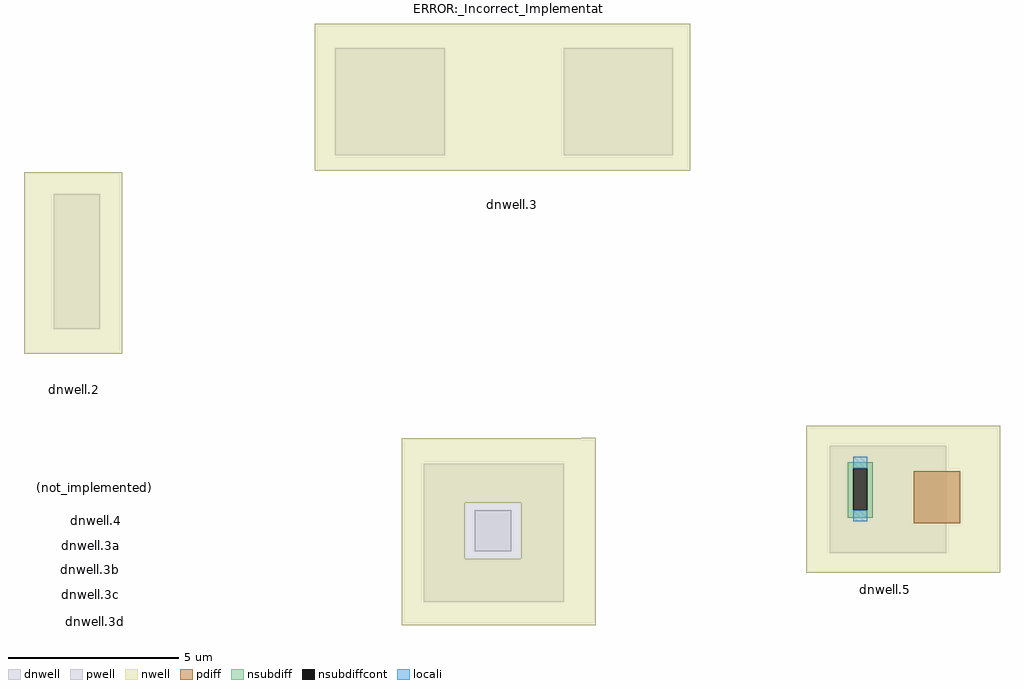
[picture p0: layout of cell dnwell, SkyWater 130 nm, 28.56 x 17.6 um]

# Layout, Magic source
magic
tech sky130A
<< dnwell >>
rect 730 514 1050 827
rect 1398 514 1718 827
rect -94 6 41 400
rect 989 -793 1399 -388
rect 2177 -649 2517 -336
<< nwell >>
rect 670 469 1769 899
rect -181 -66 106 464
rect 1450 -314 1492 -313
rect 925 -502 1492 -314
rect 925 -667 1109 -502
rect 1274 -667 1492 -502
rect 925 -861 1492 -667
rect 2108 -707 2675 -277
<< pwell >>
rect 1138 -644 1245 -525
<< pdiff >>
rect 2422 -562 2559 -410
<< nsubdiff >>
rect 2230 -402 2303 -384
rect 2230 -525 2245 -402
rect 2286 -525 2303 -402
rect 2230 -546 2303 -525
<< nsubdiffcont >>
rect 2245 -525 2286 -402
<< locali >>
rect 2245 -402 2286 -368
rect 2245 -557 2286 -525
<< labels >>
flabel comment s 32 -554 32 -554 0 FreeSans 280 0 0 0 dnwell.4
flabel comment s 25 -459 25 -459 0 FreeSans 280 0 0 0 (not_implemented)
flabel comment s 146 1124 146 1124 0 FreeSans 400 0 0 0 Deep_Nwell
flabel comment s 1238 944 1238 944 0 FreeSans 280 0 0 0 ERROR:_Incorrect_Implementation
flabel comment s 2340 -755 2340 -755 0 FreeSans 280 0 0 0 dnwell.5
flabel comment s 30 -1145 30 -1145 0 FreeSans 280 0 0 0 NOTE:_Why_do_errors_keep_disappearing??
flabel comment s 15 -628 15 -628 0 FreeSans 280 0 0 0 dnwell.3a
flabel comment s 15 -699 15 -699 0 FreeSans 280 0 0 0 dnwell.3b
flabel comment s 13 -771 13 -771 0 FreeSans 280 0 0 0 dnwell.3c
flabel comment s 28 -850 28 -850 0 FreeSans 280 0 0 0 dnwell.3d
flabel comment s -32 -172 -32 -172 0 FreeSans 280 0 0 0 dnwell.2
flabel comment s 1247 369 1247 369 0 FreeSans 280 0 0 0 dnwell.3
<< end >>
